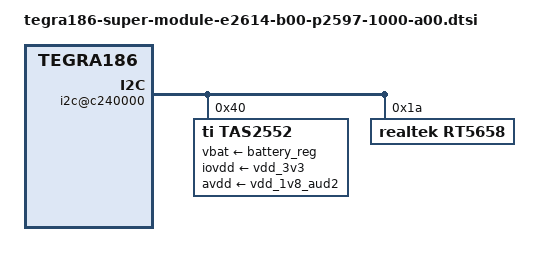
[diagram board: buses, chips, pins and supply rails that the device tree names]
/*
 * tegra186-super-module-e2614-b00-p2597-1000-a00.dtsi:
 *		Jetson super module E2614
 *
 * Copyright (c) 2015, NVIDIA CORPORATION.  All rights reserved.
 *
 * This program is free software; you can redistribute it and/or modify
 * it under the terms of the GNU General Public License as published by
 * the Free Software Foundation; version 2 of the License.
 *
 * This program is distributed in the hope that it will be useful, but WITHOUT
 * ANY WARRANTY; without even the implied warranty of MERCHANTABILITY or
 * FITNESS FOR A PARTICULAR PURPOSE.  See the GNU General Public License for
 * more details.
 */

#include "tegra186-super-module-e2614-a00-p2597-1000-a00-common.dtsi"
#include "tegra186-super-module-e2614-a00-p2597-1000-a00-audio.dtsi"
/ {
	i2c@c240000 {
		i2cmux@70 {
			i2c@0 {
				tas2552: tas2552.9-0040@40 {
					compatible = "ti,tas2552";
					reg = <0x40>;
					vbat-supply = <&battery_reg>;
					iovdd-supply = <&vdd_3v3>;
					avdd-supply = <&vdd_1v8_aud2>;
				};
			};
			i2c@3 {
				rt5658: rt5659.12-001a@1a {
					compatible = "realtek,rt5658";
					reg = <0x1a>;
				};
			};
		};
	};

	sound {
		nvidia,dai-link-3 {
			codec = "rt5659.12-001a";
		};
		nvidia,dai-link-4 {
			codec = "tas2552.9-0040";
		};
	};
};
